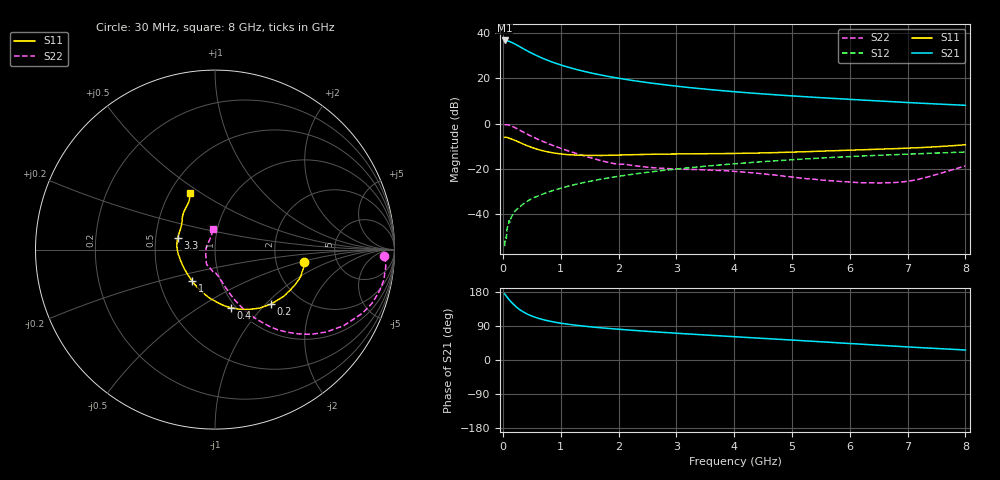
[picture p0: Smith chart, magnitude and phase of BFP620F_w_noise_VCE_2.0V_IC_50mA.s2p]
! Infineon Technologies  Discrete & RF Semiconductors
! BFP620F
! VCE =  2.0 V,  IC =  50 mA
! Common Emitter S-Parameters:  Dec 2014
# GHz  S  MA  R  50
!  f  S11  S21  S12  S22
! GHz  MAG  ANG  MAG  ANG  MAG  ANG  MAG  ANG
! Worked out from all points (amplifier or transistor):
!   95 points, 30 MHz to 8 GHz, reference 50 ohm
!   highest |S21| = 36.8 dB at 30 MHz (marker M1)
!   |S21| within 3 dB of that: start of sweep to 309.8 MHz
!   unconditionally stable (mu >= 1): 1.917 GHz to end of sweep
!   at 300 MHz: K = 0.49, MSG = 35.2 dB, |S12| = -36.5 dB
!   at 3.3 GHz: K = 1.03, MAG = 16.4 dB, |S12| = -19.2 dB
!   at 8 GHz: K = 1.05, MAG = 8.9 dB, |S12| = -12.5 dB
!   lowest NFmin = 1.55 dB at 450 MHz
!   S11 on the Smith chart (normalised r, x): 30 MHz: 2.91, -0.53; 200 MHz: 1.43, -1.07; 400 MHz: 0.95, -0.69; 1 GHz: 0.73, -0.27; 3.3 GHz: 0.65, +0.09; 8 GHz: 0.63, +0.45
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0.03  0.5026 -7.8  68.89 174.7  0.002 111.9  0.9435 -2.3
0.07  0.5007 -16.9  68.22 166.6  0.0046 90.5  0.9561 -10.0
0.11  0.4794 -26.4  65.65 158.9  0.0074 89.3  0.9301 -17.5
0.15  0.462 -34.5  62.66 152.1  0.0089 77.1  0.8919 -23.6
0.2  0.4356 -44.2  58.2 144.5  0.0115 77.0  0.8328 -30.6
0.25  0.4091 -52.9  53.85 137.7  0.0133 73.8  0.7727 -36.4
0.3  0.383 -60.6  49.59 132.0  0.0149 73.4  0.7143 -41.4
0.35  0.3583 -67.9  45.57 127.2  0.017 71.2  0.6592 -45.4
0.4  0.3363 -74.6  42.07 122.9  0.0187 70.3  0.6091 -49.0
0.5  0.3009 -85.5  36.01 116.0  0.0225 69.5  0.5269 -54.5
0.6  0.2733 -95.8  31.24 110.6  0.0253 69.8  0.4578 -58.8
0.7  0.2525 -104.5  27.48 106.3  0.0285 69.7  0.4038 -62.3
0.8  0.2376 -112.4  24.42 102.8  0.0317 69.6  0.3584 -64.9
1  0.2173 -126.2  19.9 97.2  0.038 69.3  0.2888 -69.3
1.4  0.202 -147.7  14.4 89.4  0.0506 68.7  0.1971 -76.4
1.9  0.2023 -166.8  10.65 82.4  0.0665 66.9  0.1343 -86.9
2.7  0.2138 173.6  7.517 73.6  0.0914 63.0  0.1054 -105.9
3.3  0.2182 162.9  6.164 67.9  0.1098 59.4  0.0983 -115.0
4.1  0.2229 150.7  4.989 60.6  0.1339 54.6  0.0874 -123.4
5.4  0.2464 137.9  3.836 49.0  0.1728 45.9  0.0596 -149.7
6.7  0.2808 126.1  3.09 37.2  0.2068 36.5  0.0503 152.2
8  0.3455 113.9  2.559 26.3  0.2385 27.5  0.1176 94.5
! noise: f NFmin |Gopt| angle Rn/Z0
0.45  1.55  0.23  -171  0.17
0.9  1.58  0.23  -171  0.15
1.5  1.6  0.27  -155  0.1
1.8  1.61  0.27  -153  0.1
1.9  1.62  0.27  -151  0.1
2.4  1.63  0.27  214  0.11
3.5  1.71  0.28  221  0.13
5.5  1.82  0.32  252  0.22
6  1.84  0.32  261  0.28
